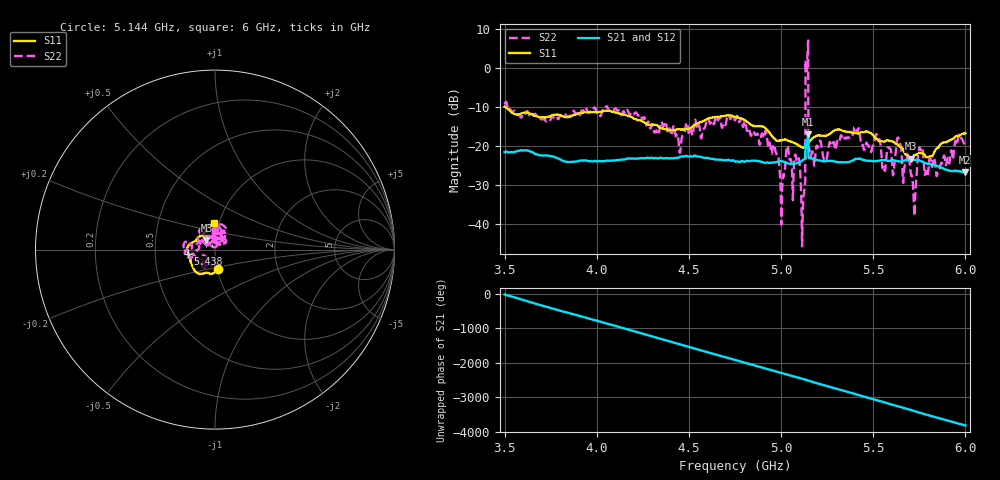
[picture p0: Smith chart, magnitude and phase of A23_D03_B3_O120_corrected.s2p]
! Created with skrf 1.9.0 (http://scikit-rf.org).
# Hz S RI R 50.0
!freq ReS11 ImS11 ReS21 ImS21 ReS12 ImS12 ReS22 ImS22
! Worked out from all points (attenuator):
!   1601 points, 3.5 GHz to 6 GHz, reference 50 ohm
!   highest |S21| = -16.90 dB at 5.147 GHz (marker M1); lowest = -26.7 dB at 5.997 GHz (marker M2)
!   lowest |S11| = -23.2 dB at 5.703 GHz (marker M3), VSWR 1.15, Z = 45.3 + j4.62 ohm
!   |S11| at or under -10 dB: 3.505 GHz to end of sweep
!   |S22| runs from -45.7 to 7.1 dB; largest |S21 - S12| = 0.0013
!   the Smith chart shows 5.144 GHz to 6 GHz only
!   S11 on the Smith chart (normalised r, x): 5.144 GHz: 1.01, -0.22; 5.438 GHz: 0.74, -0.04; 6 GHz: 0.94, +0.28
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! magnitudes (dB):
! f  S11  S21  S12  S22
! 3.5 GHz  -9.8  -21.6  -21.5  -9.3
! 3.917 GHz  -11.5  -23.7  -23.7  -10.9
! 4.334 GHz  -15.0  -23.1  -23.1  -17.1
! 4.75 GHz  -12.5  -24.0  -23.9  -13.4
! 4.967 GHz  -18.2  -24.1  -24.1  -20.8
! 5.005 GHz  -18.4  -23.8  -23.8  -32.8
! 5.034 GHz  -18.5  -24.4  -24.3  -19.9
! 5.088 GHz  -19.6  -24.4  -24.3  -23.4
! 5.119 GHz  -20.3  -23.6  -23.5  -35.5
! 5.134 GHz  -19.8  -19.9  -19.8  0.5
! 5.144 GHz  -19.4  -18.2  -18.1  4.5
! 5.147 GHz  -19.2  -16.9  -16.9  7.1
! 5.167 GHz  -18.1  -23.2  -23.1  -21.4
! 5.438 GHz  -16.4  -23.4  -23.4  -19.6
! 5.558 GHz  -18.9  -23.6  -23.5  -25.1
! 5.584 GHz  -18.6  -23.7  -23.7  -20.4
! 5.703 GHz  -23.2  -23.6  -23.5  -26.7
! 5.722 GHz  -22.3  -23.5  -23.5  -36.6
! 5.756 GHz  -21.8  -23.8  -23.7  -21.0
! 5.852 GHz  -20.3  -25.2  -25.1  -26.6
! 5.997 GHz  -16.7  -26.7  -26.7  -19.6
! 6 GHz  -16.7  -26.7  -26.7  -19.5
